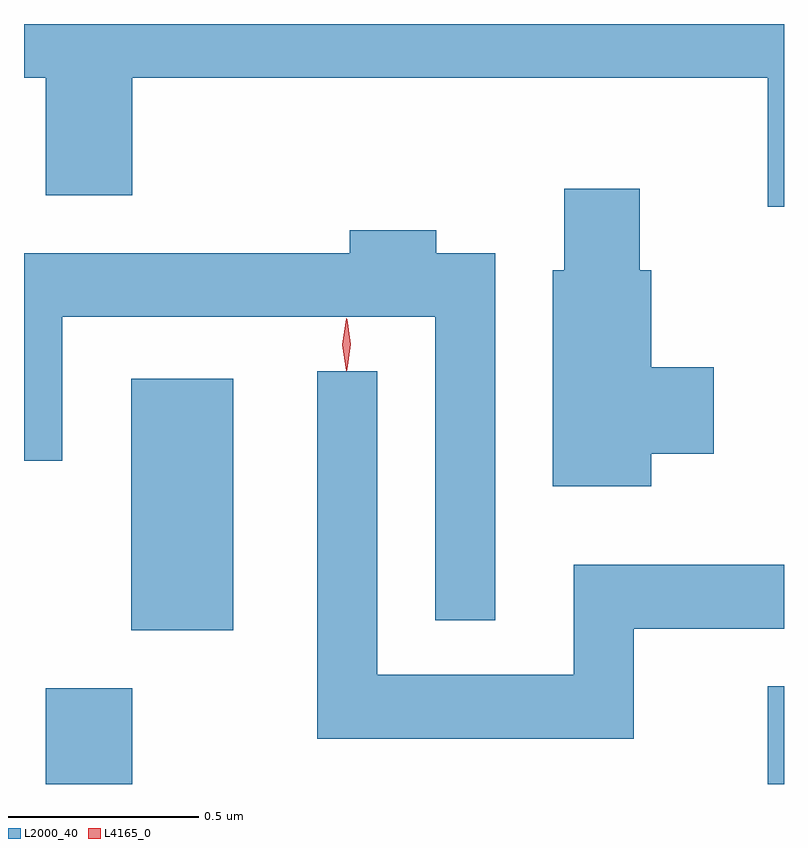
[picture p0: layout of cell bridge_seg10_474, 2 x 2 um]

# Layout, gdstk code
import gdstk
lib = gdstk.Library(unit=1e-6, precision=1e-09)
def R(c, l, rs):  # rectangles x0, y0, x1, y1
    for r in rs: c.add(gdstk.rectangle(r[:2], r[2:], *l))
def P(c, l, *ps):  # polygons
    for p in ps: c.add(gdstk.Polygon(p, *l))
L2000_40 = (2000, 40)
L4165_0 = (4165, 0)

bridge_seg10_474 = lib.new_cell('bridge_seg10_474')
R(bridge_seg10_474, L2000_40, [(1415.691,2105.397,1415.919,2105.649), (1417.591,2105.397,1417.634,2105.654), (1415.916,2105.801,1416.184,2106.464)])
P(bridge_seg10_474, L2000_40, [(1417.634,2107.397),(1415.634,2107.397),(1415.634,2107.256),(1415.691,2107.256),(1415.691,2106.946),(1415.919,2106.946),(1415.919,2107.256),(1417.591,2107.256),(1417.591,2106.916),(1417.634,2106.916)],
  [(1417.284,2106.266),(1417.449,2106.266),(1417.449,2106.494),(1417.284,2106.494),(1417.284,2106.749),(1417.254,2106.749),(1417.254,2106.964),(1417.056,2106.964),(1417.056,2106.749),(1417.026,2106.749),(1417.026,2106.181),(1417.284,2106.181)],
  [(1416.874,2106.794),(1416.719,2106.794),(1416.719,2106.854),(1416.491,2106.854),(1416.491,2106.794),(1415.634,2106.794),(1415.634,2106.248),(1415.734,2106.248),(1415.734,2106.626),(1416.716,2106.626),(1416.716,2105.828),(1416.874,2105.828)],
  [(1417.239,2105.806),(1417.634,2105.806),(1417.634,2105.974),(1417.081,2105.974),(1417.081,2105.684),(1416.564,2105.684),(1416.564,2106.483),(1416.406,2106.483),(1416.406,2105.516),(1417.239,2105.516)])
P(bridge_seg10_474, L4165_0, [(1416.485,2106.487),(1416.484,2106.488),(1416.475,2106.554),(1416.484,2106.62),(1416.484,2106.62),(1416.485,2106.62),(1416.494,2106.554),(1416.485,2106.488)],
  [(1416.482,2106.483),(1416.482,2106.484),(1416.472,2106.553),(1416.482,2106.622),(1416.482,2106.623),(1416.483,2106.622),(1416.492,2106.553),(1416.483,2106.484)])

lib.write_gds('bridge_seg10_474.gds')
